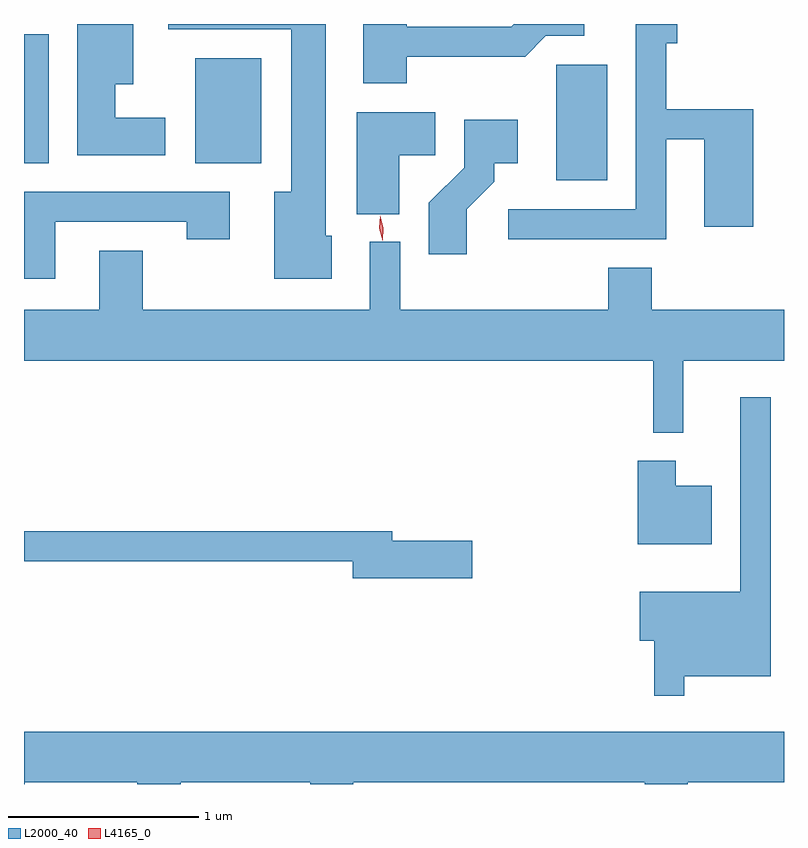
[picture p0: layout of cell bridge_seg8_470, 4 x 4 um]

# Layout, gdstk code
import gdstk
lib = gdstk.Library(unit=1e-6, precision=1e-09)
def R(c, l, rs):  # rectangles x0, y0, x1, y1
    for r in rs: c.add(gdstk.rectangle(r[:2], r[2:], *l))
def P(c, l, *ps):  # polygons
    for p in ps: c.add(gdstk.Polygon(p, *l))
L2000_40 = (2000, 40)
L4165_0 = (4165, 0)

bridge_seg8_470 = lib.new_cell('bridge_seg8_470')
R(bridge_seg8_470, L2000_40, [(444.256,1903.966,444.524,1904.574), (441.455,1904.056,441.584,1904.734), (442.356,1904.056,442.704,1904.609)])
P(bridge_seg8_470, L2000_40, [(443.074,1903.674),(443.044,1903.674),(443.044,1904.788),(442.213,1904.788),(442.213,1904.761),(442.861,1904.761),(442.861,1903.904),(442.771,1903.904),(442.771,1903.446),(443.074,1903.446)],
  [(443.469,1904.616),(444.092,1904.616),(444.202,1904.726),(444.403,1904.726),(444.403,1904.788),(444.033,1904.788),(444.019,1904.774),(443.469,1904.774),(443.469,1904.788),(443.241,1904.788),(443.241,1904.476),(443.469,1904.476)],
  [(444.834,1904.181),(445.036,1904.181),(445.036,1903.721),(445.294,1903.721),(445.294,1904.339),(444.834,1904.339),(444.834,1904.686),(444.894,1904.686),(444.894,1904.788),(444.676,1904.788),(444.676,1903.814),(444.003,1903.814),(444.003,1903.656),(444.834,1903.656)],
  [(442.199,1904.294),(441.934,1904.294),(441.934,1904.471),(442.029,1904.471),(442.029,1904.788),(441.736,1904.788),(441.736,1904.096),(442.199,1904.096)],
  [(443.429,1904.096),(443.619,1904.096),(443.619,1904.324),(443.206,1904.324),(443.206,1903.786),(443.429,1903.786)],
  [(443.784,1903.814),(443.929,1903.959),(443.929,1904.056),(444.054,1904.056),(444.054,1904.284),(443.771,1904.284),(443.771,1904.032),(443.586,1903.847),(443.586,1903.576),(443.784,1903.576)],
  [(441.619,1903.746),(442.311,1903.746),(442.311,1903.656),(442.539,1903.656),(442.539,1903.904),(441.455,1903.904),(441.455,1903.446),(441.619,1903.446)],
  [(444.924,1903.016),(445.455,1903.016),(445.455,1903.284),(444.759,1903.284),(444.759,1903.504),(444.531,1903.504),(444.531,1903.284),(443.434,1903.284),(443.434,1903.643),(443.276,1903.643),(443.276,1903.284),(442.079,1903.284),(442.079,1903.594),(441.851,1903.594),(441.851,1903.284),(441.455,1903.284),(441.455,1903.016),(444.766,1903.016),(444.766,1902.638),(444.924,1902.638)],
  [(444.929,1901.356),(445.384,1901.356),(445.384,1902.823),(445.226,1902.823),(445.226,1901.799),(444.696,1901.799),(444.696,1901.541),(444.771,1901.541),(444.771,1901.253),(444.929,1901.253)],
  [(445.074,1902.359),(444.884,1902.359),(444.884,1902.489),(444.686,1902.489),(444.686,1902.051),(445.074,1902.051)],
  [(443.814,1902.069),(443.394,1902.069),(443.394,1902.119),(441.455,1902.119),(441.455,1901.961),(443.186,1901.961),(443.186,1901.871),(443.814,1901.871)],
  [(441.459,1900.796),(442.051,1900.796),(442.051,1900.788),(442.279,1900.788),(442.279,1900.796),(442.961,1900.796),(442.961,1900.788),(443.189,1900.788),(443.189,1900.796),(444.721,1900.796),(444.721,1900.788),(444.949,1900.788),(444.949,1900.796),(445.455,1900.796),(445.455,1901.064),(441.455,1901.064),(441.455,1900.788),(441.459,1900.788)])
P(bridge_seg8_470, L4165_0, [(443.343,1903.647),(443.342,1903.648),(443.326,1903.713),(443.329,1903.779),(443.33,1903.78),(443.33,1903.779),(443.346,1903.715),(443.343,1903.648)])

lib.write_gds('bridge_seg8_470.gds')
